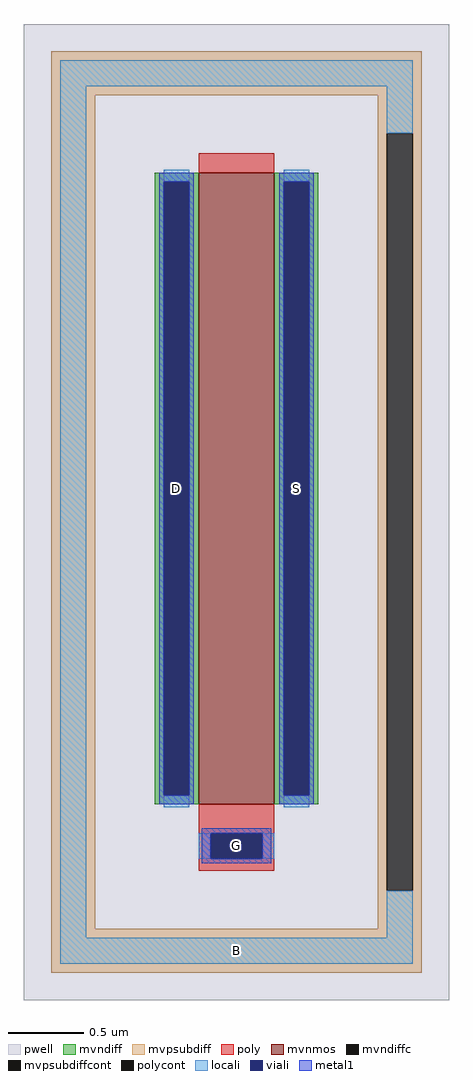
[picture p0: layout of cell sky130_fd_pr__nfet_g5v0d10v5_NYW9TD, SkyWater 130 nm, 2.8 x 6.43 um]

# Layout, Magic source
magic
tech sky130A
magscale 1 2
<< pwell >>
rect -280 -643 280 643
<< mvnmos >>
rect -50 -385 50 447
<< mvndiff >>
rect -108 435 -50 447
rect -108 -373 -96 435
rect -62 -373 -50 435
rect -108 -385 -50 -373
rect 50 435 108 447
rect 50 -373 62 435
rect 96 -373 108 435
rect 50 -385 108 -373
<< mvndiffc >>
rect -96 -373 -62 435
rect 62 -373 96 435
<< mvpsubdiff >>
rect -244 549 244 607
rect -244 -549 -186 549
rect 186 499 244 549
rect 186 -499 198 499
rect 232 -499 244 499
rect 186 -549 244 -499
rect -244 -607 244 -549
<< mvpsubdiffcont >>
rect 198 -499 232 499
<< poly >>
rect -50 447 50 473
rect -50 -423 50 -385
rect -50 -457 -34 -423
rect 34 -457 50 -423
rect -50 -473 50 -457
<< polycont >>
rect -34 -457 34 -423
<< locali >>
rect -232 561 232 595
rect -232 -561 -198 561
rect 198 499 232 561
rect -96 435 -62 451
rect -96 -389 -62 -373
rect 62 435 96 451
rect 62 -389 96 -373
rect -50 -457 -34 -423
rect 34 -457 50 -423
rect 198 -561 232 -499
rect -232 -595 232 -561
<< viali >>
rect -96 -373 -62 435
rect 62 -373 96 435
rect -34 -457 34 -423
<< metal1 >>
rect -102 435 -56 447
rect -102 -373 -96 435
rect -62 -373 -56 435
rect -102 -385 -56 -373
rect 56 435 102 447
rect 56 -373 62 435
rect 96 -373 102 435
rect 56 -385 102 -373
rect -46 -423 46 -417
rect -46 -457 -34 -423
rect 34 -457 46 -423
rect -46 -463 46 -457
<< labels >>
rlabel mvpsubdiff 0 -578 0 -578 0 B
port 1 nsew
rlabel mvndiffc -79 31 -79 31 0 D
port 2 nsew
rlabel mvndiffc 79 31 79 31 0 S
port 3 nsew
rlabel polycont 0 -440 0 -440 0 G
port 4 nsew
<< properties >>
string FIXED_BBOX -215 -578 215 578
string gencell sky130_fd_pr__nfet_g5v0d10v5
string library sky130
string parameters w 4.16 l 0.5 m 1 nf 1 diffcov 100 polycov 100 guard 1 glc 0 grc 1 gtc 0 gbc 0 tbcov 100 rlcov 100 topc 0 botc 1 poverlap 0 doverlap 1 lmin 0.50 wmin 0.42 class mosfet compatible {sky130_fd_pr__nfet_01v8 sky130_fd_pr__nfet_01v8_lvt  sky130_fd_bs_flash__special_sonosfet_star  sky130_fd_pr__nfet_g5v0d10v5 sky130_fd_pr__nfet_05v0_nvt  sky130_fd_pr__nfet_03v3_nvt} full_metal 1 conn_gates 0 viasrc 100 viadrn 100 viagate 100 viagb 0 viagr 0 viagl 0 viagt 0 doports 1
<< end >>
